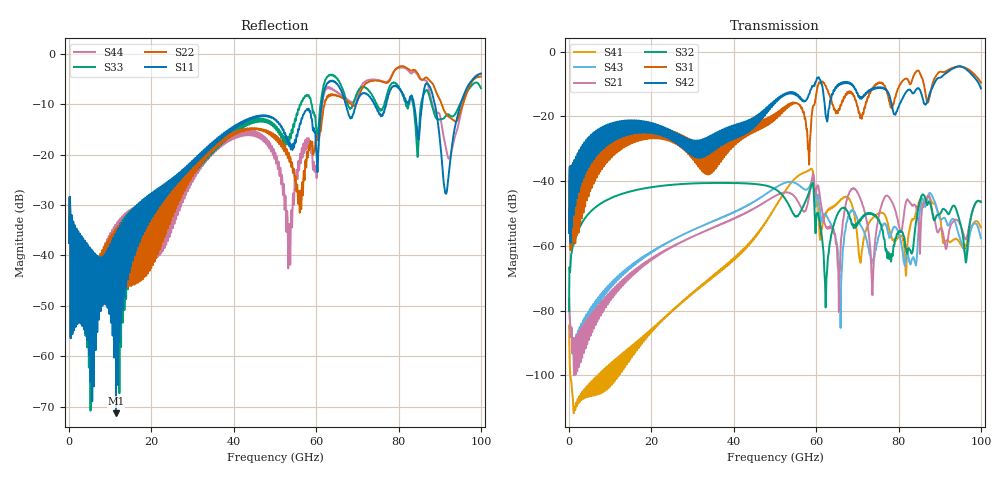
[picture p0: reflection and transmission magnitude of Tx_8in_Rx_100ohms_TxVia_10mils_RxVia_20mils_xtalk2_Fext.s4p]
! Info: Touchstone file created by Circ.  Input file=Tx_8in_Rx_100ohms_TxVia_10mils_RxVia_20mils.circ
# Hz S RI R 50
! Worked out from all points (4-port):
!   10000 points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, 10 MHz to 100 GHz, reference 50 ohm
!   strongest paths, dB at 10 MHz, 25.01 GHz, 50.01 GHz, 75.01 GHz, 100 GHz:
!     S42: -56.0, -24.5, -15.9, -11.1, -11.3
!     S31: -56.0, -24.6, -21.0, -9.6, -9.5
!     S32: -80.1, -41.1, -42.4, -51.8, -46.5
!     S21: -76.3, -60.3, -44.6, -52.1, -46.2
!     S43: -76.3, -58.3, -42.1, -57.9, -57.6
!     S41: -84.6, -80.0, -48.1, -50.1, -54.3
!   lowest |S11| = -71.3 dB at 11.4 GHz (marker M1), VSWR 1.00, Z = 50 - j0.00777 ohm
!   |S11| at or under -10 dB: start of sweep to 61.36 GHz; 74.07 GHz to 76.99 GHz (2.912 GHz wide, 3.86 % of centre); 88.81 GHz to 95.1 GHz (6.287 GHz wide, 6.84 % of centre)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
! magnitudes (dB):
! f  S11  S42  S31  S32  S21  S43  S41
! 10 MHz  -37.5  -56.0  -56.0  -80.1  -76.3  -76.3  -84.6
! 11.4 GHz  -71.3  -21.8  -22.6  -44.6  -74.6  -71.1  -95.4
! 58.54 GHz  -11.4  -12.0  -26.6  -42.5  -42.9  -41.2  -36.4
! 62.35 GHz  -6.4  -19.9  -10.5  -76.7  -54.2  -50.4  -49.8
! 65.88 GHz  -7.0  -9.7  -16.4  -48.7  -63.0  -79.5  -46.0
! 91.48 GHz  -27.8  -6.7  -6.1  -49.1  -60.9  -52.0  -58.6
! 100 GHz  -4.0  -11.3  -9.5  -46.5  -46.2  -57.6  -54.3
